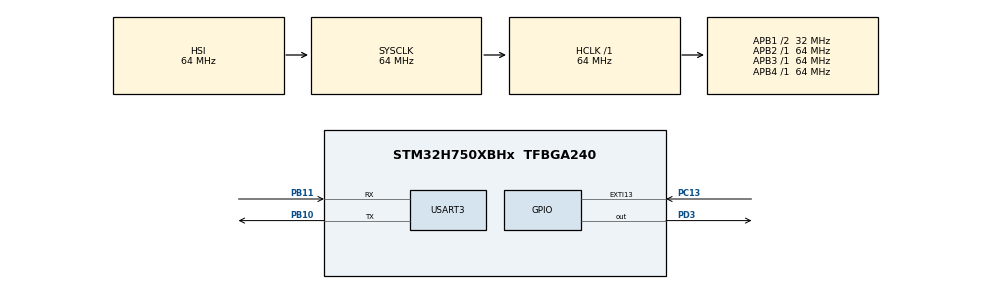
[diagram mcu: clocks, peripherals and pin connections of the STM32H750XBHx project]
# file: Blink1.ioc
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CORTEX_M7.default_mode_Activation=1
Mcu.Family=STM32H7
Mcu.Name=STM32H750XBHx
Mcu.Package=TFBGA240
NVIC.EXTI15_10_IRQn=true\:0\:0\:false\:false\:true\:true\:true\:true
NVIC.PriorityGroup=NVIC_PRIORITYGROUP_4
NVIC.USART3_IRQn=true\:0\:0\:false\:false\:true\:true\:true\:true
PB10.Mode=Asynchronous
PB10.Signal=USART3_TX
PB11.Mode=Asynchronous
PB11.Signal=USART3_RX
PC13.Signal=GPXTI13
PD3.Signal=GPIO_Output
ProjectManager.HeapSize=0x200
ProjectManager.StackSize=0x400
ProjectManager.TargetToolchain=STM32CubeIDE
RCC.ADCFreq_Value=129000000
RCC.APB1Freq_Value=32000000
RCC.APB2Freq_Value=64000000
RCC.APB3Freq_Value=64000000
RCC.APB4Freq_Value=64000000
RCC.CortexFreq_Value=64000000
RCC.D2PPRE1=RCC_APB1_DIV2
RCC.DIVM3=1
RCC.DIVN3=4
RCC.DIVR3=6
RCC.HCLKFreq_Value=64000000
RCC.PLL3FRACN=0
RCC.SYSCLKFreq_VALUE=64000000
RCC.USBFreq_Value=129000000
USART3.VirtualMode-Asynchronous=VM_ASYNC
VP_MEMORYMAP_VS_MEMORYMAP.Mode=CurAppReg
board=custom

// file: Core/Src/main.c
/* USER CODE BEGIN Header */
/**
  ******************************************************************************
  * @file           : main.c
  * @brief          : Main program body
  ******************************************************************************
  * @attention
  *
  * Copyright (c) 2025 STMicroelectronics.
  * All rights reserved.
  *
  * This software is licensed under terms that can be found in the LICENSE file
  * in the root directory of this software component.
  * If no LICENSE file comes with this software, it is provided AS-IS.
  *
  ******************************************************************************
  */
/* USER CODE END Header */
#include "main.h"

/* USER CODE BEGIN Includes */
#include "string.h"
#include "stdio.h"
/* USER CODE END Includes */

/* USER CODE BEGIN PD */
static uint32_t last_debounce_time = 0;
static uint32_t last_prg_time = 0;
static uint8_t dutyCycle = 0;
static uint8_t pwmWidth = 20;
/* USER CODE END PD */

UART_HandleTypeDef huart3;

/* USER CODE BEGIN PV */
uint8_t receivedChar;
volatile uint8_t uartReceivedFlag = 0;
/* USER CODE END PV */

void SystemClock_Config(void);
static void MPU_Config(void);
static void MX_GPIO_Init(void);
static void MX_USART3_UART_Init(void);

/* USER CODE BEGIN 0 */
int __io_putchar(int ch) {
  if (HAL_UART_Transmit(&huart3, (uint8_t *)&ch, 1, HAL_MAX_DELAY) != HAL_OK) {
    return -1;
  }
  return ch;
}
/* USER CODE END 0 */

int main(void)
{

  /* MPU Configuration--------------------------------------------------------*/
  MPU_Config();

  /* MCU Configuration--------------------------------------------------------*/

  /* Reset of all peripherals, Initializes the Flash interface and the Systick. */
  HAL_Init();

  /* Configure the system clock */
  SystemClock_Config();

  /* Initialize all configured peripherals */
  MX_GPIO_Init();
  MX_USART3_UART_Init();
  /* USER CODE BEGIN 2 */
  HAL_UART_Receive_IT(&huart3, &receivedChar, 1);
  setbuf(stdout, NULL);
  /* USER CODE END 2 */

  /* Infinite loop */
  /* USER CODE BEGIN WHILE */
  while (1)
  {

	  if (dutyCycle < pwmWidth)
	  {
  	    HAL_GPIO_WritePin(GPIOD, GPIO_PIN_3, GPIO_PIN_SET);
	    HAL_Delay(pwmWidth - dutyCycle);
	  }
	  HAL_GPIO_WritePin(GPIOD, GPIO_PIN_3, GPIO_PIN_RESET);
	  HAL_Delay(dutyCycle);

	  // just to test if we can receive from huart3
//	  if (HAL_UART_Receive(&huart3, &receivedChar, 1, HAL_MAX_DELAY) == HAL_OK)
//	  {
//	    // Echo the received character
//	    //HAL_UART_Transmit(&UartHandle, &receivedChar, 1, HAL_MAX_DELAY);
//		printf("GOT %c\r\n", receivedChar);
//	  }

    /* USER CODE END WHILE */

  }
}

void SystemClock_Config(void)
{
  RCC_OscInitTypeDef RCC_OscInitStruct = {0};
  RCC_ClkInitTypeDef RCC_ClkInitStruct = {0};

  /** Supply configuration update enable
  */
  HAL_PWREx_ConfigSupply(PWR_LDO_SUPPLY);

  /** Configure the main internal regulator output voltage
  */
  __HAL_PWR_VOLTAGESCALING_CONFIG(PWR_REGULATOR_VOLTAGE_SCALE3);

  while(!__HAL_PWR_GET_FLAG(PWR_FLAG_VOSRDY)) {}

  /** Initializes the RCC Oscillators according to the specified parameters
  * in the RCC_OscInitTypeDef structure.
  */
  RCC_OscInitStruct.OscillatorType = RCC_OSCILLATORTYPE_HSI;
  RCC_OscInitStruct.HSIState = RCC_HSI_DIV1;
  RCC_OscInitStruct.HSICalibrationValue = RCC_HSICALIBRATION_DEFAULT;
  RCC_OscInitStruct.PLL.PLLState = RCC_PLL_NONE;
  if (HAL_RCC_OscConfig(&RCC_OscInitStruct) != HAL_OK)
  {
    Error_Handler();
  }

  /** Initializes the CPU, AHB and APB buses clocks
  */
  RCC_ClkInitStruct.ClockType = RCC_CLOCKTYPE_HCLK|RCC_CLOCKTYPE_SYSCLK
                              |RCC_CLOCKTYPE_PCLK1|RCC_CLOCKTYPE_PCLK2
                              |RCC_CLOCKTYPE_D3PCLK1|RCC_CLOCKTYPE_D1PCLK1;
  RCC_ClkInitStruct.SYSCLKSource = RCC_SYSCLKSOURCE_HSI;
  RCC_ClkInitStruct.SYSCLKDivider = RCC_SYSCLK_DIV1;
  RCC_ClkInitStruct.AHBCLKDivider = RCC_HCLK_DIV1;
  RCC_ClkInitStruct.APB3CLKDivider = RCC_APB3_DIV1;
  RCC_ClkInitStruct.APB1CLKDivider = RCC_APB1_DIV2;
  RCC_ClkInitStruct.APB2CLKDivider = RCC_APB2_DIV1;
  RCC_ClkInitStruct.APB4CLKDivider = RCC_APB4_DIV1;

  if (HAL_RCC_ClockConfig(&RCC_ClkInitStruct, FLASH_LATENCY_1) != HAL_OK)
  {
    Error_Handler();
  }
}

static void MX_USART3_UART_Init(void)
{

  huart3.Instance = USART3;
  huart3.Init.BaudRate = 115200;
  huart3.Init.WordLength = UART_WORDLENGTH_8B;
  huart3.Init.StopBits = UART_STOPBITS_1;
  huart3.Init.Parity = UART_PARITY_NONE;
  huart3.Init.Mode = UART_MODE_TX_RX;
  huart3.Init.HwFlowCtl = UART_HWCONTROL_NONE;
  huart3.Init.OverSampling = UART_OVERSAMPLING_16;
  huart3.Init.OneBitSampling = UART_ONE_BIT_SAMPLE_DISABLE;
  huart3.Init.ClockPrescaler = UART_PRESCALER_DIV1;
  huart3.AdvancedInit.AdvFeatureInit = UART_ADVFEATURE_NO_INIT;
  if (HAL_UART_Init(&huart3) != HAL_OK)
  {
    Error_Handler();
  }
  if (HAL_UARTEx_SetTxFifoThreshold(&huart3, UART_TXFIFO_THRESHOLD_1_8) != HAL_OK)
  {
    Error_Handler();
  }
  if (HAL_UARTEx_SetRxFifoThreshold(&huart3, UART_RXFIFO_THRESHOLD_1_8) != HAL_OK)
  {
    Error_Handler();
  }
  if (HAL_UARTEx_DisableFifoMode(&huart3) != HAL_OK)
  {
    Error_Handler();
  }

}

static void MX_GPIO_Init(void)
{
  GPIO_InitTypeDef GPIO_InitStruct = {0};

  /* GPIO Ports Clock Enable */
  __HAL_RCC_GPIOD_CLK_ENABLE();
  __HAL_RCC_GPIOC_CLK_ENABLE();
  __HAL_RCC_GPIOB_CLK_ENABLE();

  /*Configure GPIO pin Output Level */
  HAL_GPIO_WritePin(GPIOD, GPIO_PIN_3, GPIO_PIN_RESET);

  /*Configure GPIO pin : PD3 */
  GPIO_InitStruct.Pin = GPIO_PIN_3;
  GPIO_InitStruct.Mode = GPIO_MODE_OUTPUT_PP;
  GPIO_InitStruct.Pull = GPIO_NOPULL;
  GPIO_InitStruct.Speed = GPIO_SPEED_FREQ_LOW;
  HAL_GPIO_Init(GPIOD, &GPIO_InitStruct);

  /*Configure GPIO pin : PC13 */
  GPIO_InitStruct.Pin = GPIO_PIN_13;
  GPIO_InitStruct.Mode = GPIO_MODE_IT_RISING;
  GPIO_InitStruct.Pull = GPIO_NOPULL;
  HAL_GPIO_Init(GPIOC, &GPIO_InitStruct);

  /* EXTI interrupt init*/
  HAL_NVIC_SetPriority(EXTI15_10_IRQn, 0, 0);
  HAL_NVIC_EnableIRQ(EXTI15_10_IRQn);

}

/* USER CODE BEGIN 4 */
void HAL_UART_RxCpltCallback(UART_HandleTypeDef *huart)
{
  if (huart->Instance == USART3)
  {
    printf("GOT %c\r\n", receivedChar);

    // Start receiving the next character again
    HAL_UART_Receive_IT(&huart3, &receivedChar, 1);
  }
}

void HAL_GPIO_EXTI_Callback(uint16_t GPIO_Pin)
{
  if (GPIO_Pin == GPIO_PIN_13)
  {
	//debounce logic
	uint32_t now = HAL_GetTick();
	if (now - last_debounce_time < 50)
	{
	 return;
	}
	last_debounce_time = now;

	//logic to reset UI so that we start counting from zero if more than 2000ms user didn't press a button
	if (now - last_prg_time > 2000)
	{
	  dutyCycle = 0;
	}
	dutyCycle++;
	if (dutyCycle > pwmWidth)
	{
		dutyCycle = pwmWidth;
	}
	last_prg_time = now;

    // Send duty cycle over UART
    printf("Duty %d\r\n", dutyCycle);
  }
}
/* USER CODE END 4 */

 /* MPU Configuration */

void MPU_Config(void)
{
  MPU_Region_InitTypeDef MPU_InitStruct = {0};

  /* Disables the MPU */
  HAL_MPU_Disable();

  /** Initializes and configures the Region and the memory to be protected
  */
  MPU_InitStruct.Enable = MPU_REGION_ENABLE;
  MPU_InitStruct.Number = MPU_REGION_NUMBER0;
  MPU_InitStruct.BaseAddress = 0x0;
  MPU_InitStruct.Size = MPU_REGION_SIZE_4GB;
  MPU_InitStruct.SubRegionDisable = 0x87;
  MPU_InitStruct.TypeExtField = MPU_TEX_LEVEL0;
  MPU_InitStruct.AccessPermission = MPU_REGION_NO_ACCESS;
  MPU_InitStruct.DisableExec = MPU_INSTRUCTION_ACCESS_DISABLE;
  MPU_InitStruct.IsShareable = MPU_ACCESS_SHAREABLE;
  MPU_InitStruct.IsCacheable = MPU_ACCESS_NOT_CACHEABLE;
  MPU_InitStruct.IsBufferable = MPU_ACCESS_NOT_BUFFERABLE;

  HAL_MPU_ConfigRegion(&MPU_InitStruct);
  /* Enables the MPU */
  HAL_MPU_Enable(MPU_PRIVILEGED_DEFAULT);

}

void Error_Handler(void)
{
  __disable_irq();
  while (1)
  {
  }
}
